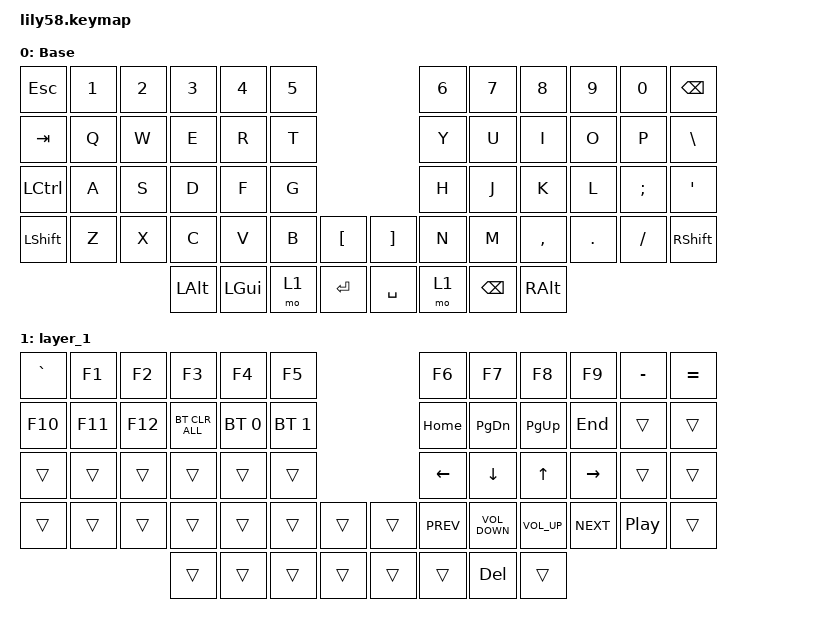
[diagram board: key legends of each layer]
/*
 * Copyright (c) 2020 The ZMK Contributors
 *
 * SPDX-License-Identifier: MIT
 */

#include <behaviors.dtsi>
#include <dt-bindings/zmk/bt.h>
#include <dt-bindings/zmk/keys.h>

/ {
    keymap {
        compatible = "zmk,keymap";

        default_layer {
            // ------------------------------------------------------------------------------------------------------------
            // |  ESC  |  1  |  2  |  3   |  4   |  5   |                   |  6   |  7    |  8    |  9   |   0   |   `   |
            // |  TAB  |  Q  |  W  |  E   |  R   |  T   |                   |  Y   |  U    |  I    |  O   |   P   |   -   |
            // |  CTRL |  A  |  S  |  D   |  F   |  G   |                   |  H   |  J    |  K    |  L   |   ;   |   '   |
            // | SHIFT |  Z  |  X  |  C   |  V   |  B   |   "["  |  |  "]"  |  N   |  M    |  ,    |  .   |   /   | SHIFT |
            //                     | ALT  | GUI  | LOWER|  SPACE |  | ENTER | RAISE| BSPC  | GUI   |

            display-name = "Base";
            bindings = <
&kp ESC           &kp N1  &kp N2  &kp N3    &kp N4    &kp N5                          &kp N6  &kp N7    &kp N8         &kp N9   &kp N0    &kp BACKSPACE
&kp TAB           &kp Q   &kp W   &kp E     &kp R     &kp T                           &kp Y   &kp U     &kp I          &kp O    &kp P     &kp BACKSLASH
&kp LEFT_CONTROL  &kp A   &kp S   &kp D     &kp F     &kp G                           &kp H   &kp J     &kp K          &kp L    &kp SEMI  &kp SQT
&kp LEFT_SHIFT    &kp Z   &kp X   &kp C     &kp V     &kp B   &kp LBKT     &kp RBKT   &kp N   &kp M     &kp COMMA      &kp DOT  &kp FSLH  &kp RIGHT_SHIFT
                                  &kp LALT  &kp LGUI  &mo 1   &kp ENTER    &kp SPACE  &mo 1   &kp BSPC  &kp RIGHT_ALT
            >;
        };

        layer_1 {
            bindings = <
&kp GRAVE  &kp F1   &kp F2   &kp F3          &kp F4        &kp F5                          &kp F6      &kp F7             &kp F8        &kp F9      &kp MINUS         &kp EQUAL
&kp F10    &kp F11  &kp F12  &bt BT_CLR_ALL  &bt BT_SEL 0  &bt BT_SEL 1                    &kp HOME    &kp PAGE_DOWN      &kp PG_UP     &kp END     &trans            &trans
&trans     &trans   &trans   &trans          &trans        &trans                          &kp LEFT    &kp DOWN           &kp UP_ARROW  &kp RIGHT   &trans            &trans
&trans     &trans   &trans   &trans          &trans        &trans        &trans    &trans  &kp K_PREV  &kp C_VOLUME_DOWN  &kp C_VOL_UP  &kp C_NEXT  &kp C_PLAY_PAUSE  &trans
                             &trans          &trans        &trans        &trans    &trans  &trans      &kp DELETE         &trans
            >;
        };
    };
};
